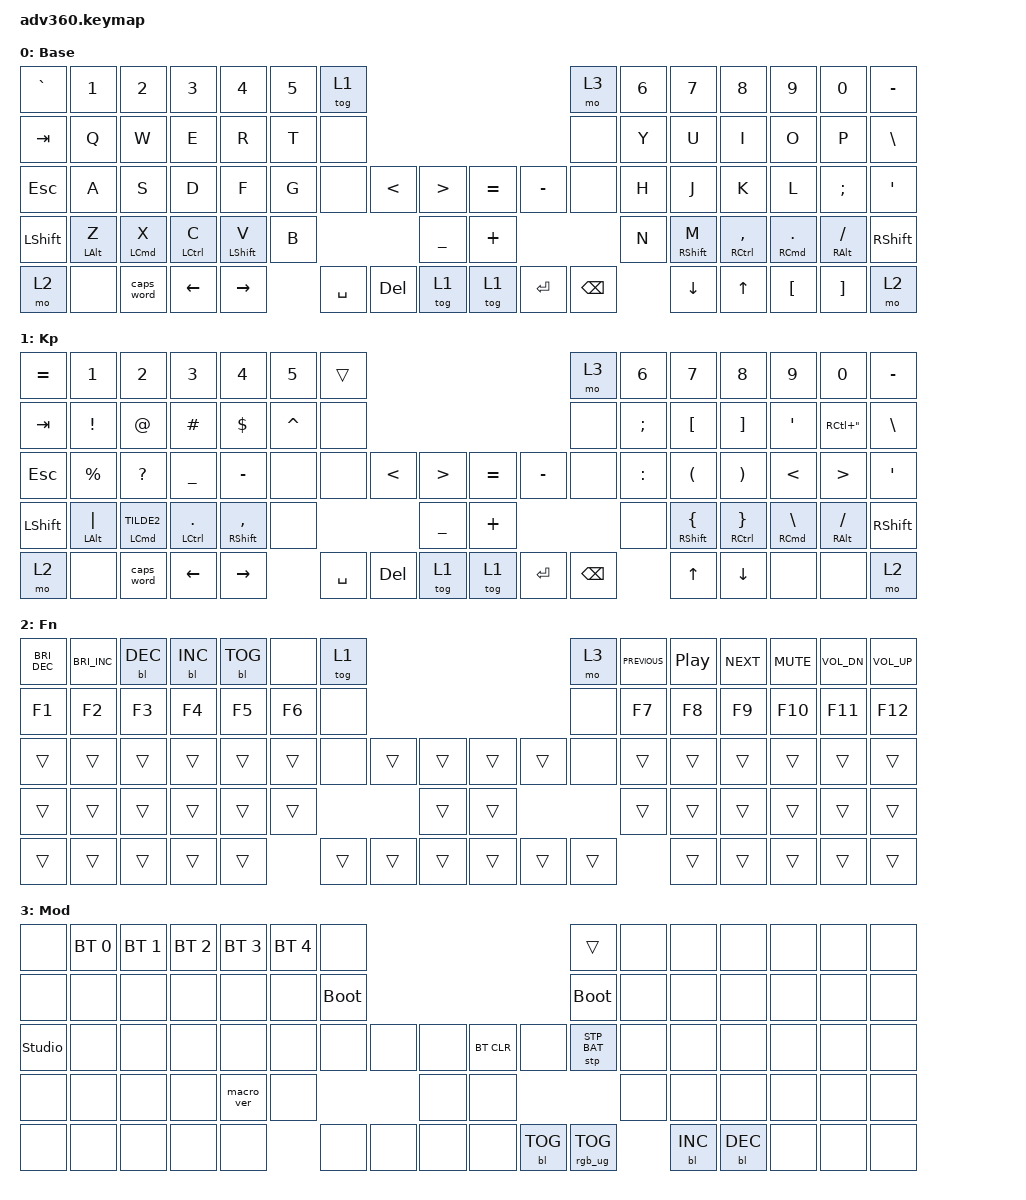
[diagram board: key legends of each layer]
#include <dt-bindings/zmk/stp.h>
#include <behaviors.dtsi>
#include <dt-bindings/zmk/backlight.h>
#include <dt-bindings/zmk/bt.h>
#include <dt-bindings/zmk/keys.h>
#include <dt-bindings/zmk/rgb.h>

/ {
    behaviors {
        #include "macros.dtsi"
      #include "version.dtsi"

        hm: homerow_mods {
            compatible = "zmk,behavior-hold-tap";
            label = "HOMEROW_MODS";
            #binding-cells = <2>;
            tapping-term-ms = <200>;
            quick_tap_ms = <175>;
            flavor = "tap-preferred";
            bindings = <&kp>, <&kp>;
        };
    };

    keymap {
        compatible = "zmk,keymap";

        default_layer {
            display-name = "Base";
            bindings = <
&kp GRAVE  &kp N1      &kp N2              &kp N3       &kp N4       &kp N5  &tog 1                                                                &mo 3          &kp N6  &kp N7       &kp N8           &kp N9                    &kp N0          &kp MINUS
&kp TAB    &kp Q       &kp W               &kp E        &kp R        &kp T   &none                                                                 &none          &kp Y   &kp U        &kp I            &kp O                     &kp P           &kp BSLH
&kp ESC    &kp A       &kp S               &kp D        &kp F        &kp G   &none      &kp LESS_THAN  &kp GREATER_THAN      &kp EQUAL  &kp MINUS  &none          &kp H   &kp J        &kp K            &kp L                     &kp SEMI        &kp SQT
&kp LSHFT  &hm LALT Z  &hm LEFT_COMMAND X  &hm LCTRL C  &hm LSHFT V  &kp B                             &kp UNDERSCORE        &kp PLUS                             &kp N   &hm RSHFT M  &hm RCTRL COMMA  &hm RIGHT_COMMAND PERIOD  &hm RALT SLASH  &kp RSHFT
&mo 2      &none       &caps_word          &kp LEFT     &kp RIGHT            &kp SPACE  &kp DEL        &tog 1                &tog 1     &kp ENTER  &kp BACKSPACE          &kp DOWN     &kp UP_ARROW     &kp LBKT                  &kp RBKT        &mo 2
            >;
        };

        symbols {
            display-name = "Kp";
            bindings = <
&kp EQUAL  &kp N1         &kp N2           &kp N3         &kp N4           &kp N5     &trans                                                                &mo 3          &kp N6     &kp N7                &kp N8                 &kp N9              &kp N0                 &kp MINUS
&kp TAB    &kp EXCL       &kp AT_SIGN      &kp HASH       &kp DOLLAR       &kp CARET  &none                                                                 &none          &kp SEMI   &kp LEFT_BRACKET      &kp RIGHT_BRACKET      &kp SINGLE_QUOTE    &kp RC(DOUBLE_QUOTES)  &kp BSLH
&kp ESC    &kp PERCENT    &kp QMARK        &kp UNDER      &kp MINUS        &none      &none      &kp LESS_THAN  &kp GREATER_THAN      &kp EQUAL  &kp MINUS  &none          &kp COLON  &kp LEFT_PARENTHESIS  &kp RIGHT_PARENTHESIS  &kp LESS_THAN       &kp GREATER_THAN       &kp SQT
&kp LSHFT  &hm LALT PIPE  &hm LCMD TILDE2  &hm LCTRL DOT  &hm RSHFT COMMA  &none                                &kp UNDER             &kp PLUS                             &none      &hm RSHFT LEFT_BRACE  &hm RCTRL RIGHT_BRACE  &hm RCMD BACKSLASH  &hm RALT SLASH         &kp RSHFT
&mo 2      &none          &caps_word       &kp LEFT       &kp RIGHT                   &kp SPACE  &kp DEL        &tog 1                &tog 1     &kp ENTER  &kp BACKSPACE             &kp UP                &kp DOWN               &none               &none                  &mo 2
            >;
        };

        fn {
            display-name = "Fn";
            bindings = <
&kp C_BRIGHTNESS_DEC  &kp C_BRIGHTNESS_INC  &bl BL_DEC  &bl BL_INC  &bl BL_TOG  &none   &tog 1                                      &mo 3   &kp C_PREVIOUS  &kp C_PLAY_PAUSE  &kp C_NEXT  &kp C_MUTE  &kp C_VOL_DN  &kp C_VOLUME_UP
&kp F1                &kp F2                &kp F3      &kp F4      &kp F5      &kp F6  &none                                       &none   &kp F7          &kp F8            &kp F9      &kp F10     &kp F11       &kp F12
&trans                &trans                &trans      &trans      &trans      &trans  &none   &trans  &trans      &trans  &trans  &none   &trans          &trans            &trans      &trans      &trans        &trans
&trans                &trans                &trans      &trans      &trans      &trans                  &trans      &trans                  &trans          &trans            &trans      &trans      &trans        &trans
&trans                &trans                &trans      &trans      &trans              &trans  &trans  &trans      &trans  &trans  &trans                  &trans            &trans      &trans      &trans        &trans
            >;
        };

        mod {
            display-name = "Mod";
            bindings = <
&none           &bt BT_SEL 0  &bt BT_SEL 1  &bt BT_SEL 2  &bt BT_SEL 3  &bt BT_SEL 4  &none                                                  &trans           &none  &none       &none       &none  &none  &none
&none           &none         &none         &none         &none         &none         &bootloader                                            &bootloader      &none  &none       &none       &none  &none  &none
&studio_unlock  &none         &none         &none         &none         &none         &none        &none  &none      &bt BT_CLR  &none       &stp STP_BAT     &none  &none       &none       &none  &none  &none
&none           &none         &none         &none         &macro_ver    &none                             &none      &none                                    &none  &none       &none       &none  &none  &none
&none           &none         &none         &none         &none                       &none        &none  &none      &none       &bl BL_TOG  &rgb_ug RGB_TOG         &bl BL_INC  &bl BL_DEC  &none  &none  &none
            >;
        };

        extra1 {
            display-name = "Red";
            status = "reserved";
        };

        extra2 {
            display-name = "Purple";
            status = "reserved";
        };

        extra3 {
            display-name = "Cyan";
            status = "reserved";
        };

        extra4 {
            display-name = "Yellow";
            status = "reserved";
        };
    };
};
